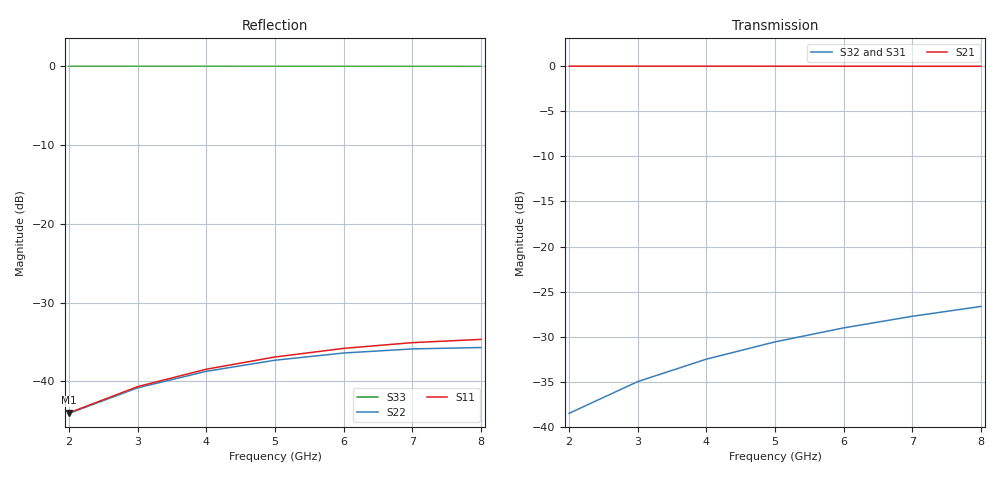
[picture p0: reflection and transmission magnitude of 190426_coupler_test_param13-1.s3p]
! Sonnet Data File
! From: emgraph Version : 16.56
! From Project: 190426_coupler_test
! Data is De-embedded
! Data File Written: 05/06/2019 15:59:44
!< HDATE 04/25/2019 10:48:44
!< MDATE 04/25/2019 10:59:35
!< PARAMS
!< tandelta = 0.0
!< t_aSi = 0.25
!< W = 10.0
!< Lcoupler = 1200.0
!< END PARAMS
# GHZ S MA R 50.0 !  non standard terminations in data
! TERM 50.00000 0.000000 50.00000 0.000000 63.84000 0.000000
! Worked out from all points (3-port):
!   7 points, 2 GHz to 8 GHz, reference 50 ohm
!   strongest paths, dB at 2 GHz, 3 GHz, 5 GHz, 7 GHz, 8 GHz:
!     S21: 0.0, 0.0, 0.0, 0.0, 0.0
!     S32: -38.5, -35.0, -30.6, -27.7, -26.6
!     S31: -38.5, -35.0, -30.7, -27.9, -26.8
!   lowest |S11| = -44.0 dB at 2 GHz (marker M1), VSWR 1.01, Z = 50.3 + j0.582 ohm
!   |S11| at or under -10 dB: start of sweep to end of sweep
2  0.006323 66.2  0.9999 -21.7  0.01188 58.7
   0.9999 -21.7  0.006274 71.6  0.01191 81.8
   0.01188 58.7  0.01191 81.8  0.9999 -18.2
3  0.009268 54.2  0.9998 -32.5  0.01777 43.0
   0.9998 -32.5  0.009107 62.5  0.01785 77.6
   0.01777 43.0  0.01785 77.6  0.9997 -27.3
4  0.01195 41.9  0.9997 -43.4  0.02359 27.4
   0.9997 -43.4  0.01159 53.5  0.02377 73.4
   0.02359 27.4  0.02377 73.4  0.9994 -36.4
5  0.01429 29.3  0.9995 -54.2  0.02933 11.7
   0.9995 -54.2  0.01362 44.6  0.02964 69.1
   0.02933 11.7  0.02964 69.1  0.9991 -45.5
6  0.0162 16.4  0.9993 -65.0  0.03495 -3.9
   0.9993 -65.0  0.01514 35.9  0.03542 64.8
   0.03495 -3.9  0.03542 64.8  0.9988 -54.6
7  0.01761 3.0  0.999 -75.8  0.04045 -19.6
   0.999 -75.8  0.01607 27.4  0.04108 60.4
   0.04045 -19.6  0.04108 60.4  0.9983 -63.7
8  0.01847 -11.0  0.9988 -86.7  0.04579 -35.3
   0.9988 -86.7  0.0164 19.3  0.04657 55.9
   0.04579 -35.3  0.04657 55.9  0.9979 -72.9
